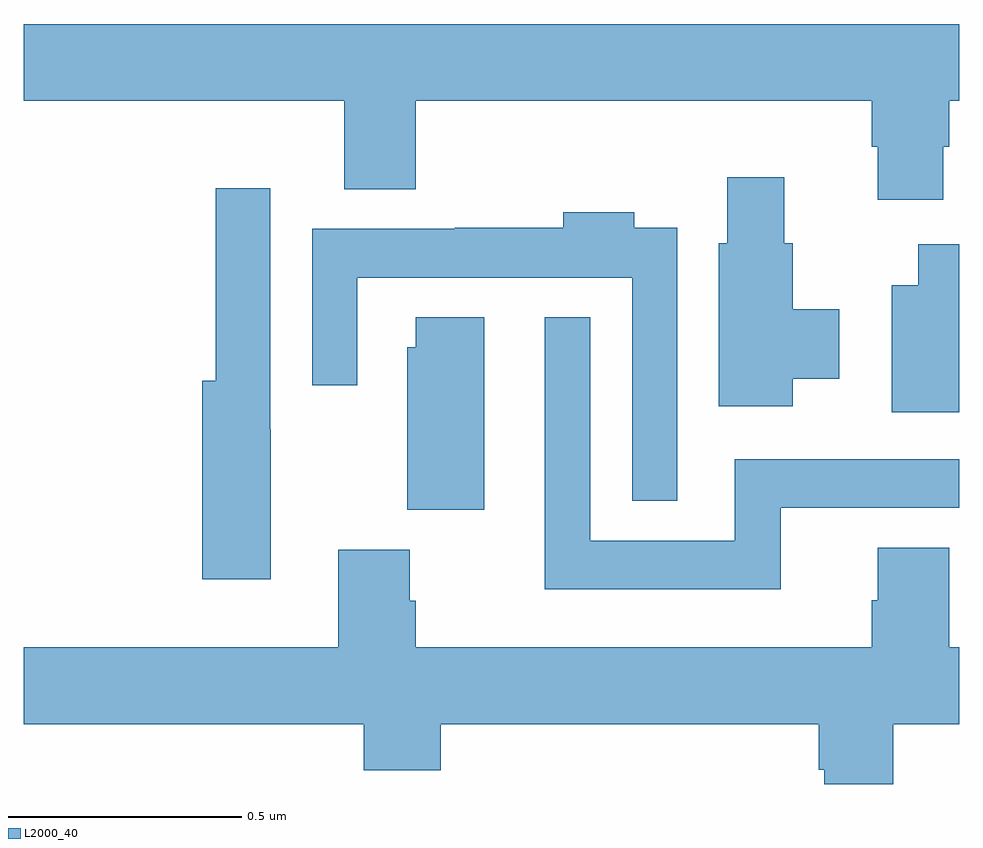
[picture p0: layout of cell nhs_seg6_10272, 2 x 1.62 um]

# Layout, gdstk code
import gdstk
lib = gdstk.Library(unit=1e-6, precision=1e-09)
def P(c, l, *ps):  # polygons
    for p in ps: c.add(gdstk.Polygon(p, *l))
L2000_40 = (2000, 40)

nhs_seg6_10272 = lib.new_cell('nhs_seg6_10272')
P(nhs_seg6_10272, L2000_40, [(245.965,989.862),(245.978,989.862),(245.978,989.96),(246,989.96),(246,990.124),(244,990.124),(244,989.96),(244.685,989.96),(244.685,989.771),(244.838,989.771),(244.838,989.96),(245.813,989.96),(245.813,989.862),(245.825,989.862),(245.825,989.748),(245.965,989.748)],
  [(245.644,989.366),(245.743,989.366),(245.743,989.514),(245.644,989.514),(245.644,989.655),(245.626,989.655),(245.626,989.797),(245.504,989.797),(245.504,989.655),(245.486,989.655),(245.486,989.307),(245.644,989.307)],
  [(244.528,989.258),(244.527,989.258),(244.527,989.773),(244.411,989.773),(244.411,989.362),(244.382,989.362),(244.382,988.938),(244.528,988.938)],
  [(245.397,989.689),(245.305,989.689),(245.305,989.722),(245.153,989.722),(245.153,989.689),(244.921,989.689),(244.921,989.686),(244.617,989.686),(244.617,989.352),(244.713,989.352),(244.713,989.582),(245.301,989.582),(245.301,989.105),(245.397,989.105)],
  [(246,989.653),(245.912,989.653),(245.912,989.566),(245.855,989.566),(245.855,989.294),(246,989.294)],
  [(245.618,989.09),(246,989.09),(246,989.194),(245.52,989.194),(245.52,989.02),(245.211,989.02),(245.211,989.497),(245.114,989.497),(245.114,988.916),(245.618,988.916)],
  [(244.984,989.497),(244.838,989.497),(244.838,989.433),(244.82,989.433),(244.82,989.086),(244.984,989.086)],
  [(244.838,988.892),(244.825,988.892),(244.825,989.001),(244.673,989.001),(244.673,988.792),(244,988.792),(244,988.628),(244.727,988.628),(244.727,988.529),(244.892,988.529),(244.892,988.628),(245.699,988.628),(245.699,988.53),(245.711,988.53),(245.711,988.5),(245.859,988.5),(245.859,988.628),(246,988.628),(246,988.792),(245.978,988.792),(245.978,989.005),(245.825,989.005),(245.825,988.893),(245.813,988.893),(245.813,988.792),(244.838,988.792)])

lib.write_gds('nhs_seg6_10272.gds')
